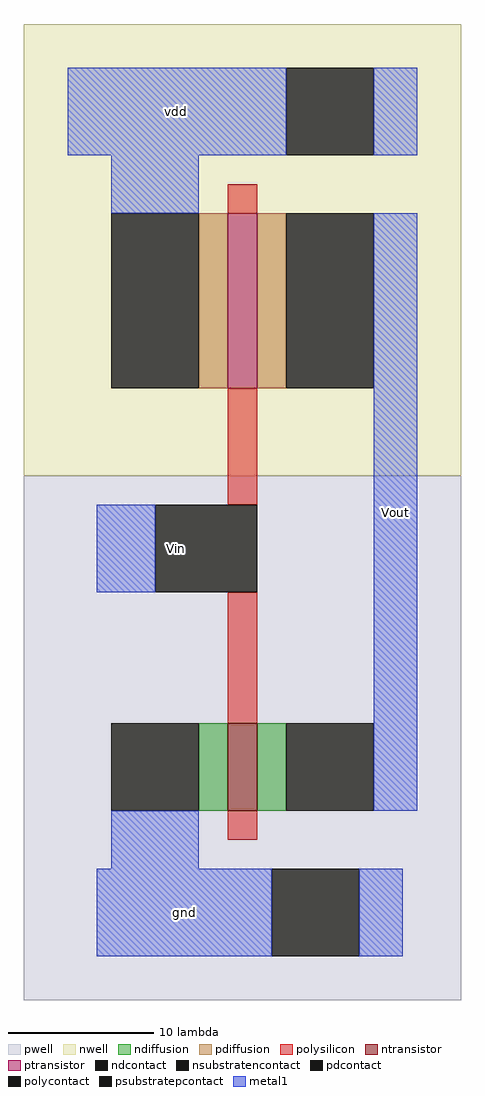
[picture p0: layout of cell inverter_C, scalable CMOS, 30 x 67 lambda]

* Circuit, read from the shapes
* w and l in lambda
.subckt inverter_C Vin vdd Vout gnd
M1 Vout Vin gnd gnd nfet w=6 l=2
M2 Vout Vin vdd vdd pfet w=12 l=2
.ends

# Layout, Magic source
magic
tech scmos
<< nwell >>
rect -16 3 14 34
<< pwell >>
rect -16 -33 14 3
<< ntransistor >>
rect -2 -20 0 -14
<< ptransistor >>
rect -2 9 0 21
<< ndiffusion >>
rect -4 -20 -2 -14
rect 0 -20 2 -14
<< pdiffusion >>
rect -4 9 -2 21
rect 0 9 2 21
<< ndcontact >>
rect -10 -20 -4 -14
rect 2 -20 8 -14
<< pdcontact >>
rect -10 9 -4 21
rect 2 9 8 21
<< psubstratepcontact >>
rect 1 -30 7 -24
<< nsubstratencontact >>
rect 2 25 8 31
<< polysilicon >>
rect -2 21 0 23
rect -2 1 0 9
rect -2 -14 0 -5
rect -2 -22 0 -20
<< polycontact >>
rect -7 -5 0 1
<< metal1 >>
rect -13 25 2 31
rect 8 25 11 31
rect -10 21 -4 25
rect -11 -5 -7 1
rect 8 -20 11 21
rect -10 -24 -4 -20
rect -11 -30 1 -24
rect 7 -30 10 -24
<< labels >>
rlabel metal1 -13 25 2 31 0 vdd
port 1 nsew
rlabel metal1 -11 -30 1 -24 0 gnd
port 2 nsew
rlabel metal1 -11 -5 0 1 0 Vin
port 1 nsew signal input
rlabel metal1 8 -20 11 21 0 Vout
port 2 nsew signal output
<< end >>
